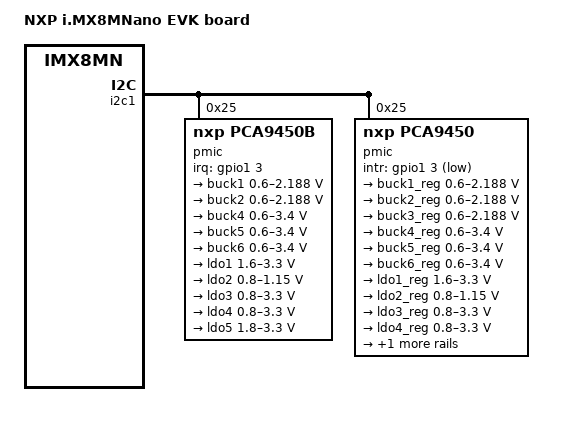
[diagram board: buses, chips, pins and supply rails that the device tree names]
// SPDX-License-Identifier: (GPL-2.0+ OR MIT)
/*
 * Copyright 2019 NXP
 */

/dts-v1/;

#include "imx8mn.dtsi"
#include "imx8mn-evk.dtsi"
#include <dt-bindings/interrupt-controller/irq.h>

/ {
	model = "NXP i.MX8MNano EVK board";
	compatible = "fsl,imx8mn-evk", "fsl,imx8mn";
};

&A53_1 {
	cpu-supply = <&buck2>;
};

&A53_2 {
	cpu-supply = <&buck2>;
};

&A53_3 {
	cpu-supply = <&buck2>;
};

&i2c1 {
	pmic: pmic@25 {
		compatible = "nxp,pca9450b";
		reg = <0x25>;
		pinctrl-names = "default";
		pinctrl-0 = <&pinctrl_pmic>;
		interrupt-parent = <&gpio1>;
		interrupts = <3 IRQ_TYPE_LEVEL_LOW>;

		regulators {
			buck1: BUCK1{
				regulator-name = "BUCK1";
				regulator-min-microvolt = <600000>;
				regulator-max-microvolt = <2187500>;
				regulator-boot-on;
				regulator-always-on;
				regulator-ramp-delay = <3125>;
			};

			buck2: BUCK2 {
				regulator-name = "BUCK2";
				regulator-min-microvolt = <600000>;
				regulator-max-microvolt = <2187500>;
				regulator-boot-on;
				regulator-always-on;
				regulator-ramp-delay = <3125>;
				nxp,dvs-run-voltage = <950000>;
				nxp,dvs-standby-voltage = <850000>;
			};

			buck4: BUCK4{
				regulator-name = "BUCK4";
				regulator-min-microvolt = <600000>;
				regulator-max-microvolt = <3400000>;
				regulator-boot-on;
				regulator-always-on;
			};

			buck5: BUCK5{
				regulator-name = "BUCK5";
				regulator-min-microvolt = <600000>;
				regulator-max-microvolt = <3400000>;
				regulator-boot-on;
				regulator-always-on;
			};

			buck6: BUCK6 {
				regulator-name = "BUCK6";
				regulator-min-microvolt = <600000>;
				regulator-max-microvolt = <3400000>;
				regulator-boot-on;
				regulator-always-on;
			};

			ldo1: LDO1 {
				regulator-name = "LDO1";
				regulator-min-microvolt = <1600000>;
				regulator-max-microvolt = <3300000>;
				regulator-boot-on;
				regulator-always-on;
			};

			ldo2: LDO2 {
				regulator-name = "LDO2";
				regulator-min-microvolt = <800000>;
				regulator-max-microvolt = <1150000>;
				regulator-boot-on;
				regulator-always-on;
			};

			ldo3: LDO3 {
				regulator-name = "LDO3";
				regulator-min-microvolt = <800000>;
				regulator-max-microvolt = <3300000>;
				regulator-boot-on;
				regulator-always-on;
			};

			ldo4: LDO4 {
				regulator-name = "LDO4";
				regulator-min-microvolt = <800000>;
				regulator-max-microvolt = <3300000>;
				regulator-boot-on;
				regulator-always-on;
			};

			ldo5: LDO5 {
				regulator-name = "LDO5";
				regulator-min-microvolt = <1800000>;
				regulator-max-microvolt = <3300000>;
				regulator-boot-on;
				regulator-always-on;
			};
		};
	};
};

&A53_0 {
	cpu-supply = <&buck2_reg>;
};

&i2c1 {
	pmic: pca9450@25 {
		reg = <0x25>;
		compatible = "nxp,pca9450";
		/* PMIC PCA9450 PMIC_nINT GPIO1_IO3 */
		pinctrl-0 = <&pinctrl_pmic>;
		gpio_intr = <&gpio1 3 GPIO_ACTIVE_LOW>;

		regulators {
			#address-cells = <1>;
			#size-cells = <0>;

			pca9450,pmic-buck2-uses-i2c-dvs;
			/* Run/Standby voltage */
			pca9450,pmic-buck2-dvs-voltage = <950000>, <850000>;

			buck1_reg: regulator@0 {
				reg = <0>;
				regulator-compatible = "buck1";
				regulator-min-microvolt = <600000>;
				regulator-max-microvolt = <2187500>;
				regulator-boot-on;
				regulator-always-on;
				regulator-ramp-delay = <3125>;
			};

			buck2_reg: regulator@1 {
				reg = <1>;
				regulator-compatible = "buck2";
				regulator-min-microvolt = <600000>;
				regulator-max-microvolt = <2187500>;
				regulator-boot-on;
				regulator-always-on;
				regulator-ramp-delay = <3125>;
			};

			buck3_reg: regulator@2 {
				reg = <2>;
				regulator-compatible = "buck3";
				regulator-min-microvolt = <600000>;
				regulator-max-microvolt = <2187500>;
				regulator-boot-on;
				regulator-always-on;
			};

			buck4_reg: regulator@3 {
				reg = <3>;
				regulator-compatible = "buck4";
				regulator-min-microvolt = <600000>;
				regulator-max-microvolt = <3400000>;
				regulator-boot-on;
				regulator-always-on;
			};

			buck5_reg: regulator@4 {
				reg = <4>;
				regulator-compatible = "buck5";
				regulator-min-microvolt = <600000>;
				regulator-max-microvolt = <3400000>;
				regulator-boot-on;
				regulator-always-on;
			};

			buck6_reg: regulator@5 {
				reg = <5>;
				regulator-compatible = "buck6";
				regulator-min-microvolt = <600000>;
				regulator-max-microvolt = <3400000>;
				regulator-boot-on;
				regulator-always-on;
			};

			ldo1_reg: regulator@6 {
				reg = <6>;
				regulator-compatible = "ldo1";
				regulator-min-microvolt = <1600000>;
				regulator-max-microvolt = <3300000>;
				regulator-boot-on;
				regulator-always-on;
			};

			ldo2_reg: regulator@7 {
				reg = <7>;
				regulator-compatible = "ldo2";
				regulator-min-microvolt = <800000>;
				regulator-max-microvolt = <1150000>;
				regulator-boot-on;
				regulator-always-on;
			};

			ldo3_reg: regulator@8 {
				reg = <8>;
				regulator-compatible = "ldo3";
				regulator-min-microvolt = <800000>;
				regulator-max-microvolt = <3300000>;
				regulator-boot-on;
				regulator-always-on;
			};

			ldo4_reg: regulator@9 {
				reg = <9>;
				regulator-compatible = "ldo4";
				regulator-min-microvolt = <800000>;
				regulator-max-microvolt = <3300000>;
				regulator-boot-on;
				regulator-always-on;
			};

			ldo5_reg: regulator@10 {
				reg = <10>;
				regulator-compatible = "ldo5";
				regulator-min-microvolt = <1800000>;
				regulator-max-microvolt = <3300000>;
			};
		};
	};
};

&iomuxc {
	pinctrl_pmic: pmicirq {
		fsl,pins = <
			MX8MN_IOMUXC_GPIO1_IO03_GPIO1_IO3	0x41
		>;
	};
};
